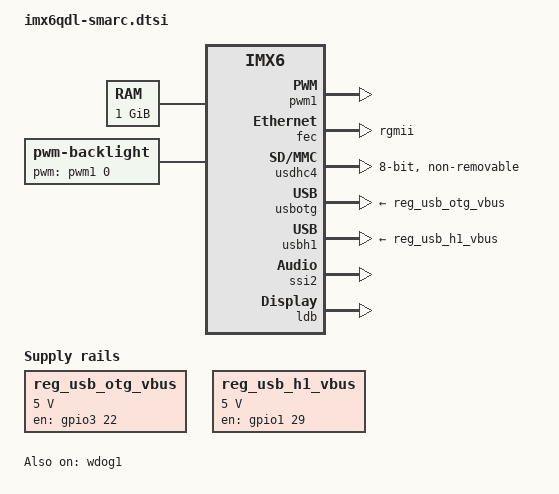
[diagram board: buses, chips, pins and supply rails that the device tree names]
#include "imx6-base.dtsi"

/ {
	aliases {
		mxcfb0 = &mxcfb1;
		mxcfb1 = &mxcfb2;
		mxcfb2 = &mxcfb3;
		mxcfb3 = &mxcfb4;
	};

	memory {
		reg = <0x10000000 0x40000000>;
	};

	regulators {
		compatible = "simple-bus";

		reg_usb_otg_vbus: usb_otg_vbus {
			compatible = "regulator-fixed";
			regulator-name = "usb_otg_vbus";
			regulator-min-microvolt = <5000000>;
			regulator-max-microvolt = <5000000>;
			gpio = <&gpio3 22 0>;
			enable-active-high;
		};

		reg_usb_h1_vbus: usb_h1_vbus {
			compatible = "regulator-fixed";
			regulator-name = "usb_h1_vbus";
			regulator-min-microvolt = <5000000>;
			regulator-max-microvolt = <5000000>;
			gpio = <&gpio1 29 0>;
			enable-active-high;
		};
	};

	sound-hdmi {
		compatible = "fsl,imx6q-audio-hdmi", "fsl,imx-audio-hdmi";
		model = "imx-audio-hdmi";
		hdmi-controller = <&hdmi_audio>;
	};

	mxcfb1: fb@0 {
		compatible = "fsl,mxc_sdc_fb";
		disp_dev = "ldb";
		interface_pix_fmt = "RGB666";
		default_bpp = <16>;
		int_clk = <0>;
		late_init = <0>;
		status = "disabled";
	};

	mxcfb2: fb@1 {
		compatible = "fsl,mxc_sdc_fb";
		disp_dev = "hdmi";
		interface_pix_fmt = "RGB24";
		mode_str ="1920x1080M@60";
		default_bpp = <24>;
		int_clk = <0>;
		late_init = <0>;
		status = "disabled";
	};

	mxcfb3: fb@2 {
		compatible = "fsl,mxc_sdc_fb";
		disp_dev = "lcd";
		interface_pix_fmt = "RGB565";
		mode_str ="CLAA-WVGA";
		default_bpp = <16>;
		int_clk = <0>;
		late_init = <0>;
		status = "disabled";
	};

	mxcfb4: fb@3 {
		compatible = "fsl,mxc_sdc_fb";
		disp_dev = "ldb";
		interface_pix_fmt = "RGB666";
		default_bpp = <16>;
		int_clk = <0>;
		late_init = <0>;
		status = "disabled";
	};

	lcd@0 {
		compatible = "fsl,lcd";
		ipu_id = <0>;
		disp_id = <0>;
		default_ifmt = "RGB565";
		pinctrl-names = "default";
		pinctrl-0 = <&pinctrl_ipu1_1>;
		status = "disabled";
	};

	pwm-backlight {
		compatible = "pwm-backlight";
		pwms = <&pwm1 0 5000000>;
		brightness-levels = <0 4 8 16 32 64 128 255>;
		default-brightness-level = <7>;
	};

	v4l2_out {
		compatible = "fsl,mxc_v4l2_output";
		status = "okay";
	};
};

&iomuxc {
        pcie1 {
                pinctrl_pcie_1: pcie1grp-1 {
                        fsl,pins = <
                                MX6QDL_PAD_GPIO_19__GPIO4_IO05		0x80000000
                                MX6QDL_PAD_EIM_DA10__GPIO3_IO10		0x80000000
                        >;
                };
        };
};

&pwm1 {
	pinctrl-names = "default";
	pinctrl-0 = <&pinctrl_pwm1_1>;
	status = "okay";
};

&fec {
	pinctrl-names = "default";
	pinctrl-0 = <&pinctrl_enet_1>;
	phy-mode = "rgmii";
	status = "okay";
};

&usdhc4 {
	pinctrl-names = "default";
	pinctrl-0 = <&pinctrl_usdhc4_1>;
	bus-width = <8>;
	non-removable;
	no-1-8-v;
	keep-power-in-suspend;
	status = "okay";
};

&usbotg {
	vbus-supply = <&reg_usb_otg_vbus>;
	pinctrl-names = "default";
	pinctrl-0 = <&pinctrl_usbotg_2>;
	disable-over-current;
	status = "okay";
};

&usbh1 {
	vbus-supply = <&reg_usb_h1_vbus>;
	status = "okay";
};

&ssi2 {
	fsl,mode = "i2s-slave";
	status = "okay";
};

&pcie {
	pinctrl-names = "default";
	pinctrl-0 = <&pinctrl_pcie_1>;
	wake-up-gpio = <&gpio3 10 0>;
	reset-gpio = <&gpio4 5 0>;
	status = "disabled";
};

&wdog1 {
	status = "okay";
};

&wdog2 {
	status = "disabled";
};

&ldb {
	status = "okay";

	lvds-channel@0 {
		fsl,data-mapping = "spwg";
		fsl,data-width = <18>;
		primary;
		status = "okay";

		display-timings {
			native-mode = <&timing0>;
			fg_1024x600: FG100131DNSWAGL1 {
				clock-frequency = <50400000>;
				hactive = <1024>;
				vactive = <600>;
				hback-porch = <220>;
				hfront-porch = <40>;
				vback-porch = <5>;
				vfront-porch = <10>;
				hsync-len = <60>;
				vsync-len = <10>;
			};
			timing0: hsd100pxn1 {
				clock-frequency = <75010000>;
				hactive = <1368>;
				vactive = <768>;
				hback-porch = <40>;
				hfront-porch = <40>;
				vback-porch = <10>;
				vfront-porch = <3>;
				hsync-len = <107>;
				vsync-len = <24>;
			};
		};
	};

	lvds-channel@1 {
		fsl,data-mapping = "spwg";
		fsl,data-width = <18>;
		status = "okay";

		display-timings {
			native-mode = <&timing1>;
			timing1: hsd100pxn1 {
				clock-frequency = <65000000>;
				hactive = <1024>;
				vactive = <768>;
				hback-porch = <220>;
				hfront-porch = <40>;
				vback-porch = <21>;
				vfront-porch = <7>;
				hsync-len = <60>;
				vsync-len = <10>;
			};
		};
	};
};


